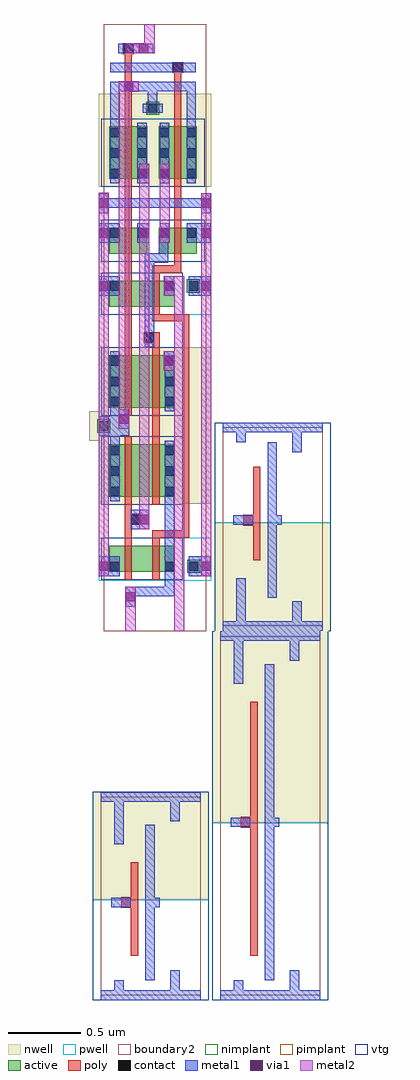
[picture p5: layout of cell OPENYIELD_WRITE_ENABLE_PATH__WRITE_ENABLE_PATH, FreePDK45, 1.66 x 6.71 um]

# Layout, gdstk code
import gdstk
lib = gdstk.Library(unit=1e-6, precision=5e-10)
def R(c, l, rs):  # rectangles x0, y0, x1, y1
    for r in rs: c.add(gdstk.rectangle(r[:2], r[2:], *l))
def A(c, l, x, y, w, h, nx, ny, dx, dy):  # array of equal rectangles
    R(c, l, [(x+i*dx, y+j*dy, x+i*dx+w, y+j*dy+h) for i in range(nx) for j in range(ny)])
active = (1, 0)
pwell = (2, 0)
nwell = (3, 0)
nimplant = (4, 0)
pimplant = (5, 0)
vtg = (6, 0)
poly = (9, 0)
contact = (10, 0)
metal1 = (11, 0)
via1 = (12, 0)
metal2 = (13, 0)
boundary2 = (239, 0)

openyield_write_enable_p = lib.new_cell('OPENYIELD_WRITE_ENABLE_PATH__gen_inv')
R(openyield_write_enable_p, pwell, [(-0.055,-0.033,0.743,0.655)])
R(openyield_write_enable_p, nwell, [(-0.055,0.655,0.743,1.4)])
R(openyield_write_enable_p, vtg, [(-0.055,-0.033,0.743,0.655), (-0.055,0.655,0.743,1.4)])
R(openyield_write_enable_p, poly, [(0.208,0.27,0.258,0.915), (0.14,0.6,0.208,0.675)])
R(openyield_write_enable_p, metal1, [(0,-0.033,0.687,0.033), (0.092,-0.033,0.157,0.103), (0.478,0,0.542,0.17), (0.307,0.103,0.372,1.173), (0.072,0.605,0.208,0.67), (0.34,0.605,0.405,0.67), (0.092,1.038,0.157,1.397), (0.478,1.195,0.542,1.365), (0,1.332,0.687,1.397)])
R(openyield_write_enable_p, boundary2, [(0,0,0.687,1.365), (0,0,0.687,1.365)])
openyield_write_enable_p.add(gdstk.Label('A', (0.14,0.638), layer=11, texttype=0))
openyield_write_enable_p.add(gdstk.Label('Z', (0.372,0.638), layer=11, texttype=0))
openyield_write_enable_p.add(gdstk.Label('gnd', (0.345,0), layer=11, texttype=0))
openyield_write_enable_p.add(gdstk.Label('vdd', (0.345,1.365), layer=11, texttype=0))

c_openyield_write_enable_p = lib.new_cell('OPENYIELD_WRITE_ENABLE_PATH__gen_delay_inv')
R(c_openyield_write_enable_p, pwell, [(-0.055,-0.033,0.743,1.185)])
R(c_openyield_write_enable_p, nwell, [(-0.055,1.185,0.743,2.505)])
R(c_openyield_write_enable_p, vtg, [(-0.055,-0.033,0.743,1.185), (-0.055,1.185,0.743,2.505)])
R(c_openyield_write_enable_p, poly, [(0.208,0.27,0.258,2.02), (0.14,1.153,0.208,1.228)])
R(c_openyield_write_enable_p, metal1, [(0,-0.033,0.687,0.033), (0.092,-0.033,0.157,0.103), (0.478,0,0.542,0.17), (0.307,0.103,0.372,2.277), (0.072,1.157,0.208,1.222), (0.34,1.157,0.405,1.222), (0.092,2.143,0.157,2.502), (0.478,2.3,0.542,2.47), (0,2.437,0.687,2.502)])
R(c_openyield_write_enable_p, boundary2, [(0,0,0.687,2.47), (0,0,0.687,2.47)])
c_openyield_write_enable_p.add(gdstk.Label('A', (0.14,1.19), layer=11, texttype=0))
c_openyield_write_enable_p.add(gdstk.Label('Z', (0.372,1.19), layer=11, texttype=0))
c_openyield_write_enable_p.add(gdstk.Label('gnd', (0.345,0), layer=11, texttype=0))
c_openyield_write_enable_p.add(gdstk.Label('vdd', (0.345,2.47), layer=11, texttype=0))

c_openyield_write_enable_p_ = lib.new_cell('OPENYIELD_WRITE_ENABLE_PATH__write_driver')
R(c_openyield_write_enable_p_, active, [(0.292,0.535,0.382,0.625), (0.04,0.705,0.115,1.065), (0.04,0.705,0.115,1.065), (0.04,0.705,0.3,1.065), (0.225,0.705,0.3,1.065), (0.225,0.705,0.3,1.065), (0.38,0.705,0.455,1.065), (0.38,0.705,0.455,1.065), (0.38,0.705,0.64,1.065), (0.565,0.705,0.64,1.065), (0.565,0.705,0.64,1.065), (0.04,0.71,0.115,1.065), (0.225,0.71,0.3,1.065), (0.38,0.71,0.455,1.065), (0.565,0.71,0.64,1.065), (0.04,1.4,0.115,1.58), (0.04,1.4,0.115,1.58), (0.04,1.4,0.3,1.58), (0.04,1.4,0.115,1.475), (0.225,1.4,0.3,1.58), (0.225,1.4,0.3,1.58), (0.225,1.4,0.3,1.475), (0.38,1.4,0.455,1.58), (0.38,1.4,0.455,1.58), (0.38,1.4,0.64,1.58), (0.38,1.4,0.455,1.475), (0.565,1.4,0.64,1.58), (0.565,1.4,0.64,1.58), (0.565,1.4,0.64,1.475), (0.572,1.757,0.662,1.847), (0.04,1.765,0.115,1.945), (0.04,1.765,0.115,1.945), (0.04,1.765,0.115,1.84), (0.04,1.765,0.49,1.945), (0.197,1.765,0.337,1.945), (0.415,1.765,0.49,1.945), (0.415,1.765,0.49,1.945), (0.415,1.765,0.49,1.84), (0.04,2.28,0.115,2.64), (0.04,2.28,0.115,2.64), (0.04,2.28,0.115,2.635), (0.04,2.28,0.49,2.64), (0.197,2.28,0.337,2.64), (0.415,2.28,0.49,2.64), (0.415,2.28,0.49,2.64), (0.415,2.28,0.49,2.635), (-0.045,2.72,0.045,2.81), (0.04,2.892,0.115,3.252), (0.04,2.892,0.115,3.252), (0.04,2.892,0.49,3.252), (0.192,2.892,0.332,3.252), (0.415,2.892,0.49,3.252), (0.415,2.892,0.49,3.252), (0.04,2.897,0.115,3.252), (0.415,2.897,0.49,3.252), (0.04,3.587,0.115,3.767), (0.04,3.587,0.115,3.767), (0.04,3.587,0.49,3.767), (0.192,3.587,0.332,3.767), (0.415,3.587,0.49,3.767), (0.415,3.587,0.49,3.767), (0.575,3.685,0.665,3.775), (0.04,3.692,0.115,3.767), (0.415,3.692,0.49,3.767)])
R(c_openyield_write_enable_p_, pwell, [(-0.035,1.345,0.74,2), (-0.015,1.345,0.355,1.635), (0.325,1.345,0.695,1.635), (0.517,1.702,0.717,1.902), (-0.015,1.71,0.545,2), (-0.035,3.532,0.74,3.83), (-0.015,3.532,0.545,3.822), (0.52,3.63,0.72,3.83)])
R(c_openyield_write_enable_p_, nwell, [(-0.035,0.48,0.74,1.12), (0.237,0.48,0.437,0.68), (-0.015,0.65,0.355,1.12), (0.325,0.65,0.695,1.12), (-0.035,2.225,0.74,3.3), (-0.015,2.225,0.545,2.695), (-0.1,2.665,0.1,2.865), (-0.015,2.837,0.545,3.307)])
R(c_openyield_write_enable_p_, nimplant, [(0.292,0.535,0.382,0.625), (0.04,1.4,0.3,1.58), (0.38,1.4,0.64,1.58), (0.04,1.765,0.49,1.945), (-0.045,2.72,0.045,2.81), (0.04,3.587,0.49,3.767)])
R(c_openyield_write_enable_p_, pimplant, [(0.04,0.705,0.3,1.065), (0.38,0.705,0.64,1.065), (0.572,1.757,0.662,1.847), (0.04,2.28,0.49,2.64), (0.04,2.892,0.49,3.252), (0.575,3.685,0.665,3.775)])
R(c_openyield_write_enable_p_, vtg, [(-0.015,0.65,0.355,1.12), (0.325,0.65,0.695,1.12), (-0.015,1.345,0.355,1.635), (0.325,1.345,0.695,1.635), (-0.015,1.71,0.545,2), (-0.015,2.225,0.545,2.695), (-0.015,2.837,0.545,3.307), (-0.015,3.532,0.545,3.822)])
R(c_openyield_write_enable_p_, poly, [(0.132,0.132,0.207,0.207), (0.145,0.137,0.195,0.65), (0.472,0.262,0.547,0.337), (0.485,0.267,0.535,0.65), (0.145,0.65,0.195,0.705), (0.145,0.65,0.195,1.12), (0.485,0.65,0.535,0.705), (0.485,0.65,0.535,1.12), (0.145,1.065,0.195,1.12), (0.485,1.065,0.535,1.12), (0.145,1.12,0.195,1.345), (0.485,1.12,0.535,1.345), (0.145,1.345,0.195,1.635), (0.145,1.345,0.195,1.4), (0.485,1.345,0.535,1.635), (0.485,1.345,0.535,1.4), (0.145,1.58,0.195,1.635), (0.485,1.58,0.535,1.635), (0.145,1.635,0.195,1.71), (0.485,1.635,0.535,1.66), (0.335,1.66,0.535,1.71), (0.145,1.71,0.195,2), (0.145,1.71,0.195,1.765), (0.335,1.71,0.385,2), (0.335,1.71,0.385,1.765), (0.145,1.945,0.195,2), (0.335,1.945,0.385,2), (0.335,1.995,0.59,2.045), (0.54,1.995,0.59,3.482), (0.145,2,0.195,2.225), (0.277,2.12,0.352,2.195), (0.335,2.12,0.385,2.225), (0.145,2.225,0.195,2.28), (0.145,2.225,0.195,2.695), (0.335,2.225,0.385,2.28), (0.335,2.225,0.385,2.695), (0.145,2.64,0.195,2.695), (0.335,2.64,0.385,2.695), (0.335,2.695,0.385,2.837), (0.145,2.837,0.195,2.892), (0.145,2.837,0.195,3.307), (0.335,2.837,0.385,2.892), (0.335,2.837,0.385,3.307), (0.145,3.252,0.195,3.307), (0.335,3.252,0.385,3.307), (0.145,3.307,0.195,3.532), (0.18,3.37,0.255,3.445), (0.335,3.482,0.59,3.532), (0.145,3.532,0.195,3.822), (0.145,3.532,0.195,3.587), (0.335,3.532,0.385,3.822), (0.335,3.532,0.385,3.587), (0.145,3.767,0.195,3.822), (0.335,3.767,0.385,3.822)])
A(c_openyield_write_enable_p_, contact, 0.045, 0.715, 0.065, 0.065, 1, 3, 0, 0.14)
A(c_openyield_write_enable_p_, contact, 0.23, 0.715, 0.065, 0.065, 1, 3, 0, 0.14)
A(c_openyield_write_enable_p_, contact, 0.385, 0.715, 0.065, 0.065, 1, 3, 0, 0.14)
A(c_openyield_write_enable_p_, contact, 0.57, 0.715, 0.065, 0.065, 1, 3, 0, 0.14)
A(c_openyield_write_enable_p_, contact, 0.045, 2.285, 0.065, 0.065, 1, 3, 0, 0.14)
A(c_openyield_write_enable_p_, contact, 0.42, 2.285, 0.065, 0.065, 1, 3, 0, 0.14)
A(c_openyield_write_enable_p_, contact, 0.045, 2.902, 0.065, 0.065, 1, 3, 0, 0.14)
A(c_openyield_write_enable_p_, contact, 0.42, 2.902, 0.065, 0.065, 1, 3, 0, 0.14)
R(c_openyield_write_enable_p_, contact, [(0.137,0.137,0.202,0.202), (0.477,0.267,0.542,0.332), (0.305,0.547,0.37,0.612), (0.045,1.405,0.11,1.47), (0.23,1.405,0.295,1.47), (0.385,1.405,0.45,1.47), (0.57,1.405,0.635,1.47), (0.045,1.77,0.11,1.835), (0.42,1.77,0.485,1.835), (0.585,1.77,0.65,1.835), (0.282,2.125,0.347,2.19), (-0.032,2.732,0.032,2.797), (0.185,3.375,0.25,3.44), (0.045,3.697,0.11,3.762), (0.42,3.697,0.485,3.762), (0.587,3.697,0.652,3.762)])
R(c_openyield_write_enable_p_, metal1, [(0.207,0.135,0.342,0.2), (0.102,0.137,0.237,0.202), (0.045,0.267,0.635,0.332), (0.045,0.397,0.635,0.462), (0.105,0.397,0.24,0.462), (0.045,0.462,0.11,0.68), (0.302,0.462,0.367,0.612), (0.57,0.462,0.635,0.68), (0.27,0.547,0.405,0.612), (0.045,0.68,0.11,1.095), (0.23,0.68,0.295,1.095), (0.385,0.68,0.45,1.095), (0.57,0.68,0.635,1.095), (0.247,0.96,0.312,1.095), (0.387,0.96,0.452,1.095), (-0.032,1.165,0.032,1.3), (0.672,1.165,0.737,1.3), (-0.035,1.2,0.74,1.265), (-0.032,1.37,0.032,1.505), (0.027,1.37,0.04,1.505), (0.035,1.37,0.045,1.505), (0.045,1.37,0.11,1.505), (0.23,1.37,0.295,1.505), (0.247,1.37,0.312,1.505), (0.385,1.37,0.45,1.505), (0.387,1.37,0.452,1.505), (0.57,1.37,0.635,1.505), (0.63,1.37,0.672,1.505), (0.672,1.37,0.737,1.505), (0.38,1.452,0.445,1.577), (0.282,1.577,0.347,2.175), (0.282,1.577,0.445,1.642), (-0.032,1.735,0.032,1.87), (0.027,1.735,0.04,1.87), (0.035,1.735,0.045,1.87), (0.045,1.735,0.11,1.87), (0.417,1.735,0.482,1.87), (0.42,1.735,0.485,1.87), (0.585,1.735,0.65,1.87), (0.65,1.735,0.672,1.87), (0.672,1.735,0.737,1.87), (0.282,2.09,0.347,2.225), (0.045,2.25,0.11,2.665), (0.417,2.25,0.482,2.385), (0.42,2.25,0.485,2.665), (0.095,2.65,0.11,2.785), (0.107,2.65,0.172,2.785), (0.045,2.665,0.11,2.867), (-0.032,2.697,0.032,2.832), (0.032,2.697,0.175,2.832), (0.045,2.867,0.11,3.282), (0.42,2.867,0.485,3.282), (0.42,3.282,0.485,3.662), (0.185,3.34,0.25,3.475), (0.247,3.34,0.312,3.475), (-0.032,3.662,0.032,3.797), (0.027,3.662,0.04,3.797), (0.035,3.662,0.045,3.797), (0.045,3.662,0.11,3.797), (0.42,3.662,0.485,3.797), (0.587,3.662,0.652,3.797), (0.652,3.662,0.672,3.797), (0.672,3.662,0.737,3.797), (0.42,3.797,0.485,3.872), (0.15,3.872,0.485,3.937), (0.152,3.872,0.217,4.007)])
R(c_openyield_write_enable_p_, via1, [(0.242,0.135,0.307,0.2), (0.14,0.397,0.205,0.462), (0.247,0.995,0.312,1.06), (0.387,0.995,0.452,1.06), (-0.032,1.2,0.032,1.265), (0.672,1.2,0.737,1.265), (-0.032,1.405,0.032,1.47), (0.247,1.405,0.312,1.47), (0.387,1.405,0.452,1.47), (0.672,1.405,0.737,1.47), (-0.032,1.77,0.032,1.835), (0.417,1.77,0.482,1.835), (0.672,1.77,0.737,1.835), (0.417,2.285,0.482,2.35), (0.107,2.685,0.172,2.75), (0.247,3.375,0.312,3.44), (-0.032,3.697,0.032,3.762), (0.672,3.697,0.737,3.762), (0.152,3.907,0.217,3.972)])
R(c_openyield_write_enable_p_, metal2, [(0.28,0,0.35,0.14), (0.157,0.132,0.35,0.202), (0.207,0.132,0.342,0.202), (0.105,0.395,0.24,0.465), (0.105,0.465,0.175,2.785), (0.245,0.96,0.315,1.095), (0.385,0.96,0.455,1.095), (0.245,1.095,0.315,1.37), (0.385,1.095,0.455,1.37), (-0.035,1.162,0.035,3.797), (-0.035,1.165,0.035,1.3), (0.67,1.165,0.74,3.797), (0.67,1.165,0.74,1.3), (-0.035,1.37,0.035,1.505), (0.245,1.37,0.315,3.467), (0.245,1.37,0.315,1.505), (0.385,1.37,0.455,1.505), (0.67,1.37,0.74,1.505), (-0.035,1.735,0.035,1.87), (0.415,1.735,0.485,1.87), (0.485,1.735,0.555,4.175), (0.67,1.735,0.74,1.87), (0.415,2.25,0.485,2.385), (0.105,2.65,0.175,2.785), (0.245,3.34,0.315,3.475), (-0.035,3.662,0.035,3.797), (0.67,3.662,0.74,3.797), (0.15,3.872,0.22,4.007), (0.15,3.875,0.22,4.175)])
R(c_openyield_write_enable_p_, boundary2, [(0,0,0.705,4.175)])
c_openyield_write_enable_p_.add(gdstk.Label('en', (0.332,0.3), layer=11, texttype=0))
c_openyield_write_enable_p_.add(gdstk.Label('din', (0.32,0.035), layer=13, texttype=0))
c_openyield_write_enable_p_.add(gdstk.Label('vdd', (0.172,0.432), layer=13, texttype=0))
c_openyield_write_enable_p_.add(gdstk.Label('br', (0.52,4.15), layer=13, texttype=0))
c_openyield_write_enable_p_.add(gdstk.Label('bl', (0.19,4.138), layer=13, texttype=0))
c_openyield_write_enable_p_.add(gdstk.Label('gnd', (-0.005,1.57), layer=13, texttype=0))

c_openyield_write_enable_p__ = lib.new_cell('OPENYIELD_WRITE_ENABLE_PATH__WRITE_ENABLE_PATH')
c_openyield_write_enable_p__.add(gdstk.Reference(openyield_write_enable_p, (0.08,0.08)))
c_openyield_write_enable_p__.add(gdstk.Reference(c_openyield_write_enable_p, (0.902,0.08)))
c_openyield_write_enable_p__.add(gdstk.Reference(c_openyield_write_enable_p_, (0.1,6.76), x_reflection=True))
c_openyield_write_enable_p__.add(gdstk.Reference(openyield_write_enable_p, (0.92,3.985), x_reflection=True))

lib.write_gds('OPENYIELD_WRITE_ENABLE_PATH__WRITE_ENABLE_PATH.gds')
